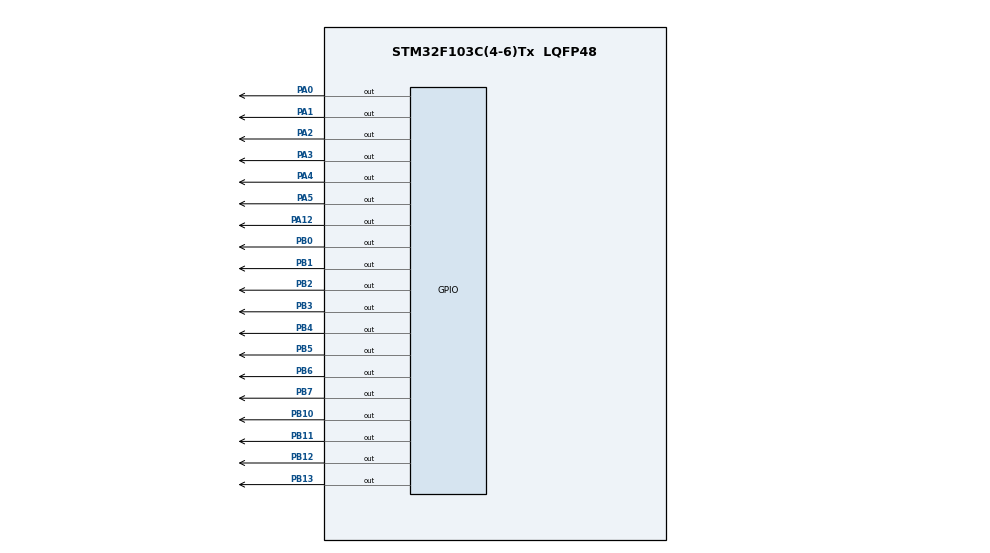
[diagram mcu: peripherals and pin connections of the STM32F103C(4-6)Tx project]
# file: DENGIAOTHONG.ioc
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Mcu.Family=STM32F1
Mcu.Name=STM32F103C(4-6)Tx
Mcu.Package=LQFP48
NVIC.PriorityGroup=NVIC_PRIORITYGROUP_4
PA0-WKUP.Signal=GPIO_Output
PA1.Signal=GPIO_Output
PA12.Signal=GPIO_Output
PA13.Mode=Serial_Wire
PA13.Signal=SYS_JTMS-SWDIO
PA14.Mode=Serial_Wire
PA14.Signal=SYS_JTCK-SWCLK
PA2.Signal=GPIO_Output
PA3.Signal=GPIO_Output
PA4.Signal=GPIO_Output
PA5.Signal=GPIO_Output
PB0.Signal=GPIO_Output
PB1.Signal=GPIO_Output
PB10.Signal=GPIO_Output
PB11.Signal=GPIO_Output
PB12.Signal=GPIO_Output
PB13.Signal=GPIO_Output
PB2.Signal=GPIO_Output
PB3.Signal=GPIO_Output
PB4.Signal=GPIO_Output
PB5.Signal=GPIO_Output
PB6.Signal=GPIO_Output
PB7.Signal=GPIO_Output
ProjectManager.HeapSize=0x200
ProjectManager.StackSize=0x400
ProjectManager.TargetToolchain=MDK-ARM V5
RCC.APB1Freq_Value=8000000
RCC.APB2Freq_Value=8000000
board=custom

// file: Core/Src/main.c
/* USER CODE BEGIN Header */
/**
  ******************************************************************************
  * @file           : main.c
  * @brief          : Main program body
  ******************************************************************************
  * @attention
  *
  * Copyright (c) 2024 STMicroelectronics.
  * All rights reserved.
  *
  * This software is licensed under terms that can be found in the LICENSE file
  * in the root directory of this software component.
  * If no LICENSE file comes with this software, it is provided AS-IS.
  *
  ******************************************************************************
  */
/* USER CODE END Header */
#include "main.h"

void SystemClock_Config(void);
static void MX_GPIO_Init(void);

/* USER CODE BEGIN 0 */
//char ma_led[]={0x00c0,0x00f9,0x00a4,0x00b0,0x0099,0x0092,0x0082,0x00f8,0x0080,0x0090};
void display7SEG(int num);
enum ledColor {RED,YELLOW,GREEN};

/* USER CODE END 0 */

int main(void)
{

  /* MCU Configuration--------------------------------------------------------*/

  /* Reset of all peripherals, Initializes the Flash interface and the Systick. */
  HAL_Init();

  /* Configure the system clock */
  SystemClock_Config();

  /* Initialize all configured peripherals */
  MX_GPIO_Init();
  /* USER CODE BEGIN 2 */
	int start=50;

	int red1=26;
	int green1=22;
	int yellow1=4;
	enum ledColor cout_led1 = GREEN;

	int red2=26;
	int green2=22;
	int yellow2=4;
	enum ledColor cout_led2 = RED;

	int counter1=21;
	int counter2=25;

	int sw_led = 0;

	HAL_GPIO_WritePin(GPIOA,GPIO_PIN_0,0);
	HAL_GPIO_WritePin(GPIOA,GPIO_PIN_1,0);
	HAL_GPIO_WritePin(GPIOA,GPIO_PIN_2,1);

	HAL_GPIO_WritePin(GPIOA,GPIO_PIN_3,1);
	HAL_GPIO_WritePin(GPIOA,GPIO_PIN_4,0);
	HAL_GPIO_WritePin(GPIOA,GPIO_PIN_5,0);

  /* USER CODE END 2 */

  /* Infinite loop */
  while (1)
  {

    /* USER CODE BEGIN 3 */
		if (green1<=0)
		{
			HAL_GPIO_WritePin(GPIOA,GPIO_PIN_0,0);
			HAL_GPIO_WritePin(GPIOA,GPIO_PIN_1,1);
			HAL_GPIO_WritePin(GPIOA,GPIO_PIN_2,0);
			green1=22;
			cout_led1=YELLOW;
			counter1=3;
		}
		if (yellow1<=0)
		{
			HAL_GPIO_WritePin(GPIOA,GPIO_PIN_0,1);
			HAL_GPIO_WritePin(GPIOA,GPIO_PIN_1,0);
			HAL_GPIO_WritePin(GPIOA,GPIO_PIN_2,0);
			yellow1=4;
			cout_led1=RED;
			counter1=25;
		}
		if (red1<=0)
		{
			HAL_GPIO_WritePin(GPIOA,GPIO_PIN_0,1);
			HAL_GPIO_WritePin(GPIOA,GPIO_PIN_1,0);
			HAL_GPIO_WritePin(GPIOA,GPIO_PIN_2,0);
			red1=26;
			cout_led1=GREEN;
			counter1=21;
		}

		if(green2<=0)
		{
			HAL_GPIO_WritePin(GPIOA,GPIO_PIN_3,0);
			HAL_GPIO_WritePin(GPIOA,GPIO_PIN_4,1);
			HAL_GPIO_WritePin(GPIOA,GPIO_PIN_5,0);
			green2=21;
			cout_led2=YELLOW;
			counter2=3;
		}
		if(yellow2<=0)
		{
			HAL_GPIO_WritePin(GPIOA,GPIO_PIN_3,1);
			HAL_GPIO_WritePin(GPIOA,GPIO_PIN_4,0);
			HAL_GPIO_WritePin(GPIOA,GPIO_PIN_5,0);
			green2=3;
			cout_led2=RED;
			counter2=25;
		}
		if(red2<=0)
		{
			HAL_GPIO_WritePin(GPIOA,GPIO_PIN_3,0);
			HAL_GPIO_WritePin(GPIOA,GPIO_PIN_4,0);
			HAL_GPIO_WritePin(GPIOA,GPIO_PIN_5,1);
			red2=25;
			cout_led2=GREEN;
			counter2=21;
		}

		if(start<=0)
		{
			switch(cout_led1)
			{
				case GREEN:
					green1--;
				break;
				case RED:
					red1--;
				break;
				case YELLOW:
					yellow1--;
				break;
			}
			switch(cout_led2)
			{
				case GREEN:
					green2--;
				break;
				case RED:
					red2--;
				break;
				case YELLOW:
					yellow2--;
				break;
			}
			counter1--;
			counter2--;
			start=50;
		}
		 switch (sw_led)
	  {
		  case 0:
			  HAL_GPIO_WritePin(GPIOB, GPIO_PIN_13, GPIO_PIN_RESET);
			  HAL_GPIO_WritePin(GPIOB, GPIO_PIN_10, GPIO_PIN_SET);
			  display7SEG(counter1 / 10);
			  sw_led = 1;
			  break;
		  case 1:
			  HAL_GPIO_WritePin(GPIOB, GPIO_PIN_10, GPIO_PIN_RESET);
			  HAL_GPIO_WritePin(GPIOB, GPIO_PIN_11, GPIO_PIN_SET);
			  display7SEG(counter1 % 10);
			  sw_led = 2;
			  break;
		  case 2:
			  HAL_GPIO_WritePin(GPIOB, GPIO_PIN_11, GPIO_PIN_RESET);
			  HAL_GPIO_WritePin(GPIOB, GPIO_PIN_12, GPIO_PIN_SET);
			  display7SEG(counter2 / 10);
			  sw_led = 3;
			  break;
		  case 3:
			  HAL_GPIO_WritePin(GPIOB, GPIO_PIN_12, GPIO_PIN_RESET);
			  HAL_GPIO_WritePin(GPIOB, GPIO_PIN_13, GPIO_PIN_SET);
			  display7SEG(counter2 % 10);
			  sw_led = 0;
			  break;
	  }
	  start--;

	  HAL_Delay(10);
	}
  /* USER CODE END 3 */
}

void SystemClock_Config(void)
{
  RCC_OscInitTypeDef RCC_OscInitStruct = {0};
  RCC_ClkInitTypeDef RCC_ClkInitStruct = {0};

  /** Initializes the RCC Oscillators according to the specified parameters
  * in the RCC_OscInitTypeDef structure.
  */
  RCC_OscInitStruct.OscillatorType = RCC_OSCILLATORTYPE_HSI;
  RCC_OscInitStruct.HSIState = RCC_HSI_ON;
  RCC_OscInitStruct.HSICalibrationValue = RCC_HSICALIBRATION_DEFAULT;
  RCC_OscInitStruct.PLL.PLLState = RCC_PLL_NONE;
  if (HAL_RCC_OscConfig(&RCC_OscInitStruct) != HAL_OK)
  {
    Error_Handler();
  }

  /** Initializes the CPU, AHB and APB buses clocks
  */
  RCC_ClkInitStruct.ClockType = RCC_CLOCKTYPE_HCLK|RCC_CLOCKTYPE_SYSCLK
                              |RCC_CLOCKTYPE_PCLK1|RCC_CLOCKTYPE_PCLK2;
  RCC_ClkInitStruct.SYSCLKSource = RCC_SYSCLKSOURCE_HSI;
  RCC_ClkInitStruct.AHBCLKDivider = RCC_SYSCLK_DIV1;
  RCC_ClkInitStruct.APB1CLKDivider = RCC_HCLK_DIV1;
  RCC_ClkInitStruct.APB2CLKDivider = RCC_HCLK_DIV1;

  if (HAL_RCC_ClockConfig(&RCC_ClkInitStruct, FLASH_LATENCY_0) != HAL_OK)
  {
    Error_Handler();
  }
}

static void MX_GPIO_Init(void)
{
  GPIO_InitTypeDef GPIO_InitStruct = {0};

  /* GPIO Ports Clock Enable */
  __HAL_RCC_GPIOA_CLK_ENABLE();
  __HAL_RCC_GPIOB_CLK_ENABLE();

  /*Configure GPIO pin Output Level */
  HAL_GPIO_WritePin(GPIOA, GPIO_PIN_0|GPIO_PIN_1|GPIO_PIN_2|GPIO_PIN_3
                          |GPIO_PIN_4|GPIO_PIN_5|GPIO_PIN_12, GPIO_PIN_RESET);

  /*Configure GPIO pin Output Level */
  HAL_GPIO_WritePin(GPIOB, GPIO_PIN_0|GPIO_PIN_1|GPIO_PIN_2|GPIO_PIN_10
                          |GPIO_PIN_11|GPIO_PIN_12|GPIO_PIN_13|GPIO_PIN_3
                          |GPIO_PIN_4|GPIO_PIN_5|GPIO_PIN_6|GPIO_PIN_7, GPIO_PIN_RESET);

  /*Configure GPIO pins : PA0 PA1 PA2 PA3
                           PA4 PA5 PA12 */
  GPIO_InitStruct.Pin = GPIO_PIN_0|GPIO_PIN_1|GPIO_PIN_2|GPIO_PIN_3
                          |GPIO_PIN_4|GPIO_PIN_5|GPIO_PIN_12;
  GPIO_InitStruct.Mode = GPIO_MODE_OUTPUT_PP;
  GPIO_InitStruct.Pull = GPIO_NOPULL;
  GPIO_InitStruct.Speed = GPIO_SPEED_FREQ_LOW;
  HAL_GPIO_Init(GPIOA, &GPIO_InitStruct);

  /*Configure GPIO pins : PB0 PB1 PB2 PB10
                           PB11 PB12 PB13 PB3
                           PB4 PB5 PB6 PB7 */
  GPIO_InitStruct.Pin = GPIO_PIN_0|GPIO_PIN_1|GPIO_PIN_2|GPIO_PIN_10
                          |GPIO_PIN_11|GPIO_PIN_12|GPIO_PIN_13|GPIO_PIN_3
                          |GPIO_PIN_4|GPIO_PIN_5|GPIO_PIN_6|GPIO_PIN_7;
  GPIO_InitStruct.Mode = GPIO_MODE_OUTPUT_PP;
  GPIO_InitStruct.Pull = GPIO_NOPULL;
  GPIO_InitStruct.Speed = GPIO_SPEED_FREQ_LOW;
  HAL_GPIO_Init(GPIOB, &GPIO_InitStruct);

}

/* USER CODE BEGIN 4 */
void display7SEG(int num)
{

	switch (num)
	{
		case 0:
			HAL_GPIO_WritePin(GPIOB, GPIO_PIN_0, GPIO_PIN_RESET);
			HAL_GPIO_WritePin(GPIOB, GPIO_PIN_1, GPIO_PIN_RESET);
			HAL_GPIO_WritePin(GPIOB, GPIO_PIN_2, GPIO_PIN_RESET);
			HAL_GPIO_WritePin(GPIOB, GPIO_PIN_3, GPIO_PIN_RESET);
			HAL_GPIO_WritePin(GPIOB, GPIO_PIN_4, GPIO_PIN_RESET);
			HAL_GPIO_WritePin(GPIOB, GPIO_PIN_5, GPIO_PIN_RESET);
			HAL_GPIO_WritePin(GPIOB, GPIO_PIN_6, GPIO_PIN_SET);
			break;
		case 1:
			HAL_GPIO_WritePin(GPIOB, GPIO_PIN_0, GPIO_PIN_SET);
			HAL_GPIO_WritePin(GPIOB, GPIO_PIN_1, GPIO_PIN_RESET);
			HAL_GPIO_WritePin(GPIOB, GPIO_PIN_2, GPIO_PIN_RESET);
			HAL_GPIO_WritePin(GPIOB, GPIO_PIN_3, GPIO_PIN_SET);
			HAL_GPIO_WritePin(GPIOB, GPIO_PIN_4, GPIO_PIN_SET);
			HAL_GPIO_WritePin(GPIOB, GPIO_PIN_5, GPIO_PIN_SET);
			HAL_GPIO_WritePin(GPIOB, GPIO_PIN_6, GPIO_PIN_SET);
			break;
		case 2:
			HAL_GPIO_WritePin(GPIOB, GPIO_PIN_0, GPIO_PIN_RESET);
			HAL_GPIO_WritePin(GPIOB, GPIO_PIN_1, GPIO_PIN_RESET);
			HAL_GPIO_WritePin(GPIOB, GPIO_PIN_2, GPIO_PIN_SET);
			HAL_GPIO_WritePin(GPIOB, GPIO_PIN_3, GPIO_PIN_RESET);
			HAL_GPIO_WritePin(GPIOB, GPIO_PIN_4, GPIO_PIN_RESET);
			HAL_GPIO_WritePin(GPIOB, GPIO_PIN_5, GPIO_PIN_SET);
			HAL_GPIO_WritePin(GPIOB, GPIO_PIN_6, GPIO_PIN_RESET);
			break;
		  case 3:
			HAL_GPIO_WritePin(GPIOB, GPIO_PIN_0, GPIO_PIN_RESET);
			HAL_GPIO_WritePin(GPIOB, GPIO_PIN_1, GPIO_PIN_RESET);
			HAL_GPIO_WritePin(GPIOB, GPIO_PIN_2, GPIO_PIN_RESET);
			HAL_GPIO_WritePin(GPIOB, GPIO_PIN_3, GPIO_PIN_RESET);
			HAL_GPIO_WritePin(GPIOB, GPIO_PIN_4, GPIO_PIN_SET);
			HAL_GPIO_WritePin(GPIOB, GPIO_PIN_5, GPIO_PIN_SET);
			HAL_GPIO_WritePin(GPIOB, GPIO_PIN_6, GPIO_PIN_RESET);
			break;
		  case 4:
			HAL_GPIO_WritePin(GPIOB, GPIO_PIN_0, GPIO_PIN_SET);
			HAL_GPIO_WritePin(GPIOB, GPIO_PIN_1, GPIO_PIN_RESET);
			HAL_GPIO_WritePin(GPIOB, GPIO_PIN_2, GPIO_PIN_RESET);
			HAL_GPIO_WritePin(GPIOB, GPIO_PIN_3, GPIO_PIN_SET);
			HAL_GPIO_WritePin(GPIOB, GPIO_PIN_4, GPIO_PIN_SET);
			HAL_GPIO_WritePin(GPIOB, GPIO_PIN_5, GPIO_PIN_RESET);
			HAL_GPIO_WritePin(GPIOB, GPIO_PIN_6, GPIO_PIN_RESET);
			break;
		  case 5:
			HAL_GPIO_WritePin(GPIOB, GPIO_PIN_0, GPIO_PIN_RESET);
			HAL_GPIO_WritePin(GPIOB, GPIO_PIN_1, GPIO_PIN_SET);
			HAL_GPIO_WritePin(GPIOB, GPIO_PIN_2, GPIO_PIN_RESET);
			HAL_GPIO_WritePin(GPIOB, GPIO_PIN_3, GPIO_PIN_RESET);
			HAL_GPIO_WritePin(GPIOB, GPIO_PIN_4, GPIO_PIN_SET);
			HAL_GPIO_WritePin(GPIOB, GPIO_PIN_5, GPIO_PIN_RESET);
			HAL_GPIO_WritePin(GPIOB, GPIO_PIN_6, GPIO_PIN_RESET);
			break;
		  case 6:
			HAL_GPIO_WritePin(GPIOB, GPIO_PIN_0, GPIO_PIN_RESET);
			HAL_GPIO_WritePin(GPIOB, GPIO_PIN_1, GPIO_PIN_SET);
			HAL_GPIO_WritePin(GPIOB, GPIO_PIN_2, GPIO_PIN_RESET);
			HAL_GPIO_WritePin(GPIOB, GPIO_PIN_3, GPIO_PIN_RESET);
			HAL_GPIO_WritePin(GPIOB, GPIO_PIN_4, GPIO_PIN_RESET);
			HAL_GPIO_WritePin(GPIOB, GPIO_PIN_5, GPIO_PIN_RESET);
			HAL_GPIO_WritePin(GPIOB, GPIO_PIN_6, GPIO_PIN_RESET);
			break;
		  case 7:
			HAL_GPIO_WritePin(GPIOB, GPIO_PIN_0, GPIO_PIN_RESET);
			HAL_GPIO_WritePin(GPIOB, GPIO_PIN_1, GPIO_PIN_RESET);
			HAL_GPIO_WritePin(GPIOB, GPIO_PIN_2, GPIO_PIN_RESET);
			HAL_GPIO_WritePin(GPIOB, GPIO_PIN_3, GPIO_PIN_SET);
			HAL_GPIO_WritePin(GPIOB, GPIO_PIN_4, GPIO_PIN_SET);
			HAL_GPIO_WritePin(GPIOB, GPIO_PIN_5, GPIO_PIN_SET);
			HAL_GPIO_WritePin(GPIOB, GPIO_PIN_6, GPIO_PIN_SET);
			break;
		  case 8:
			HAL_GPIO_WritePin(GPIOB, GPIO_PIN_0, GPIO_PIN_RESET);
			HAL_GPIO_WritePin(GPIOB, GPIO_PIN_1, GPIO_PIN_RESET);
			HAL_GPIO_WritePin(GPIOB, GPIO_PIN_2, GPIO_PIN_RESET);
			HAL_GPIO_WritePin(GPIOB, GPIO_PIN_3, GPIO_PIN_RESET);
			HAL_GPIO_WritePin(GPIOB, GPIO_PIN_4, GPIO_PIN_RESET);
			HAL_GPIO_WritePin(GPIOB, GPIO_PIN_5, GPIO_PIN_RESET);
			HAL_GPIO_WritePin(GPIOB, GPIO_PIN_6, GPIO_PIN_RESET);
			break;
		  default:
			HAL_GPIO_WritePin(GPIOB, GPIO_PIN_0, GPIO_PIN_RESET);
			HAL_GPIO_WritePin(GPIOB, GPIO_PIN_1, GPIO_PIN_RESET);
			HAL_GPIO_WritePin(GPIOB, GPIO_PIN_2, GPIO_PIN_RESET);
			HAL_GPIO_WritePin(GPIOB, GPIO_PIN_3, GPIO_PIN_RESET);
			HAL_GPIO_WritePin(GPIOB, GPIO_PIN_4, GPIO_PIN_SET);
			HAL_GPIO_WritePin(GPIOB, GPIO_PIN_5, GPIO_PIN_RESET);
			HAL_GPIO_WritePin(GPIOB, GPIO_PIN_6, GPIO_PIN_RESET);
			break;
	}
}
/* USER CODE END 4 */

void Error_Handler(void)
{
  __disable_irq();
  while (1)
  {
  }
}
